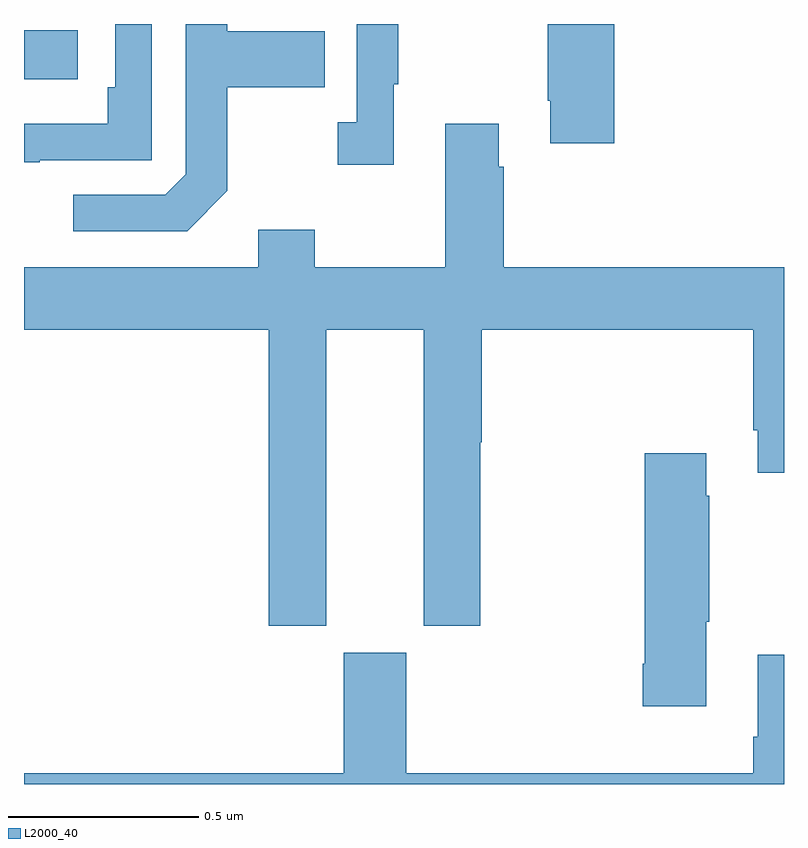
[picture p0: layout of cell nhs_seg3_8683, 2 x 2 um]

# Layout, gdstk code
import gdstk
lib = gdstk.Library(unit=1e-6, precision=1e-09)
def R(c, l, rs):  # rectangles x0, y0, x1, y1
    for r in rs: c.add(gdstk.rectangle(r[:2], r[2:], *l))
def P(c, l, *ps):  # polygons
    for p in ps: c.add(gdstk.Polygon(p, *l))
L2000_40 = (2000, 40)

nhs_seg3_8683 = lib.new_cell('nhs_seg3_8683')
R(nhs_seg3_8683, L2000_40, [(219,688.254,219.142,688.384)])
P(nhs_seg3_8683, L2000_40, [(219.973,688.241),(219.985,688.241),(219.985,688.4),(219.876,688.4),(219.876,688.142),(219.825,688.142),(219.825,688.029),(219.973,688.029)],
  [(220.553,688.4),(220.378,688.4),(220.378,688.198),(220.385,688.198),(220.385,688.086),(220.553,688.086)],
  [(219.041,688.041),(219.336,688.041),(219.336,688.4),(219.24,688.4),(219.24,688.234),(219.22,688.234),(219.22,688.137),(219,688.137),(219,688.036),(219.041,688.036)],
  [(219.535,687.961),(219.535,688.234),(219.791,688.234),(219.791,688.381),(219.535,688.381),(219.535,688.4),(219.426,688.4),(219.426,688.005),(219.372,687.951),(219.129,687.951),(219.129,687.855),(219.429,687.855)],
  [(219.796,687.596),(220.052,687.596),(220.052,686.817),(220.2,686.817),(220.2,687.3),(220.205,687.3),(220.205,687.596),(220.919,687.596),(220.919,687.331),(220.931,687.331),(220.931,687.219),(221,687.219),(221,687.76),(220.262,687.76),(220.262,688.025),(220.249,688.025),(220.249,688.138),(220.109,688.138),(220.109,687.76),(219.765,687.76),(219.765,687.859),(219.617,687.859),(219.617,687.76),(219,687.76),(219,687.596),(219.644,687.596),(219.644,686.817),(219.796,686.817)],
  [(220.795,686.827),(220.803,686.827),(220.803,687.158),(220.795,687.158),(220.795,687.271),(220.633,687.271),(220.633,686.716),(220.628,686.716),(220.628,686.604),(220.795,686.604)],
  [(221,686.74),(220.931,686.74),(220.931,686.524),(220.919,686.524),(220.919,686.428),(220.006,686.428),(220.006,686.745),(219.842,686.745),(219.842,686.428),(219,686.428),(219,686.4),(221,686.4)])

lib.write_gds('nhs_seg3_8683.gds')
